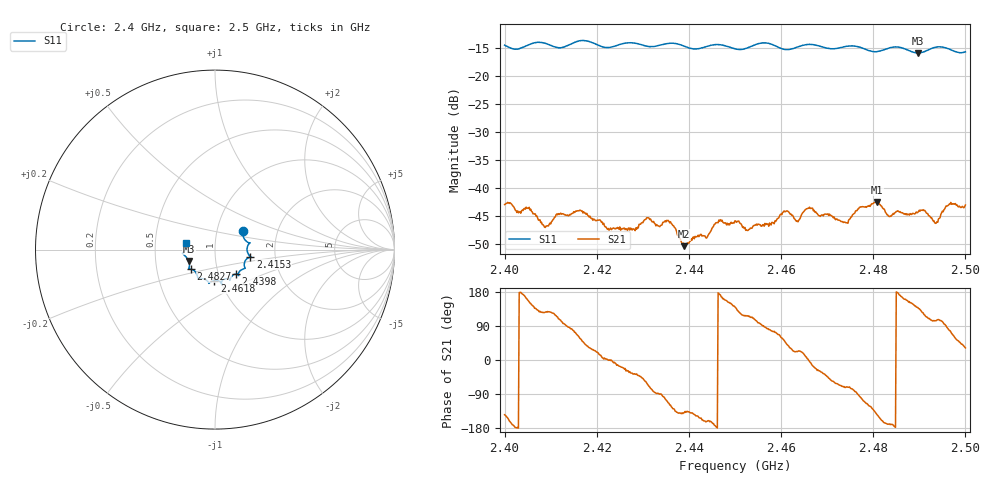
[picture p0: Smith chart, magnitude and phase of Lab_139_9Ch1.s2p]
# Hz S RI R 50
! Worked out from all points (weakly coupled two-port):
!   601 points, 2.4 GHz to 2.5 GHz, reference 50 ohm
!   highest |S21| = -42.54 dB at 2.4808 GHz (marker M1); lowest = -50.4 dB at 2.439 GHz (marker M2)
!   lowest |S11| = -15.9 dB at 2.4897 GHz (marker M3), VSWR 1.38, Z = 36.9 - j4.83 ohm
!   |S11| at or under -10 dB: start of sweep to end of sweep
!   S12 and S22 are empty: the file has one direction only
!   S11 on the Smith chart (normalised r, x): 2.4 GHz: 1.33, +0.29; 2.4153 GHz: 1.48, -0.12; 2.4398 GHz: 1.21, -0.34; 2.4618 GHz: 0.94, -0.33; 2.4827 GHz: 0.75, -0.17; 2.5 GHz: 0.72, +0.06
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2.4e9  0.1552 0.1063  -0.00578 -0.00413  0 0  0 0
2.409e9  0.1914 0.0348  -0.00276 0.00364  0 0  0 0
2.415333e9  0.1966 -0.0392  0.0018 0.00583  0 0  0 0
2.416667e9  0.2025 -0.0431  0.00369 0.005  0 0  0 0
2.422667e9  0.1642 -0.0723  0.00418 -7.4e-05  0 0  0 0
2.433333e9  0.1302 -0.1338  0.000163 -0.00458  0 0  0 0
2.435667e9  0.1313 -0.1449  -0.00206 -0.00457  0 0  0 0
2.439e9  0.123 -0.1372  -0.00227 -0.00199  0 0  0 0
2.439833e9  0.1157 -0.1362  -0.00234 -0.00218  0 0  0 0
2.45e9  0.0647 -0.1622  -0.00388 0.00328  0 0  0 0
2.452833e9  0.0386 -0.1746  -0.00188 0.00372  0 0  0 0
2.461833e9  -0.00324 -0.1724  0.00501 0.00323  0 0  0 0
2.4635e9  -0.0236 -0.1793  0.00469 0.00189  0 0  0 0
2.466667e9  -0.0343 -0.1878  0.00644 -0.00143  0 0  0 0
2.474e9  -0.0884 -0.1604  0.00149 -0.00466  0 0  0 0
2.480833e9  -0.1169 -0.1161  -0.00607 -0.00434  0 0  0 0
2.482667e9  -0.1349 -0.1087  -0.00586 -0.00138  0 0  0 0
2.483333e9  -0.14 -0.1085  -0.00549 -0.00106  0 0  0 0
2.489667e9  -0.1471 -0.0637  -0.00452 0.004  0 0  0 0
2.4935e9  -0.1787 -0.0244  -0.00114 0.00468  0 0  0 0
2.496333e9  -0.1743 -0.0133  0.00112 0.00692  0 0  0 0
2.5e9  -0.1596 0.0384  0.00596 0.00371  0 0  0 0
